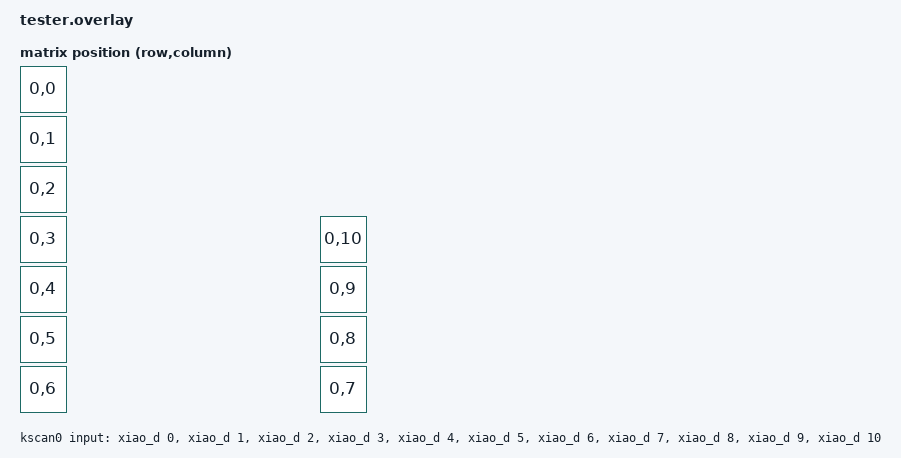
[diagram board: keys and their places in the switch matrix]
#include <dt-bindings/zmk/matrix_transform.h>
#include <physical_layouts.dtsi>

/ {
    chosen {
        zmk,kscan = &kscan0;
        zmk,physical-layout = &default_layout;
    };

    kscan0: kscan {
        compatible = "zmk,kscan-gpio-direct";
        wakeup-source;
        debounce-press-ms = <10>;
        debounce-release-ms = <10>;
        input-gpios
            = <&xiao_d 0 (GPIO_ACTIVE_LOW | GPIO_PULL_UP)>
            , <&xiao_d 1 (GPIO_ACTIVE_LOW | GPIO_PULL_UP)>
            , <&xiao_d 2 (GPIO_ACTIVE_LOW | GPIO_PULL_UP)>
            , <&xiao_d 3 (GPIO_ACTIVE_LOW | GPIO_PULL_UP)>
            , <&xiao_d 4 (GPIO_ACTIVE_LOW | GPIO_PULL_UP)>
            , <&xiao_d 5 (GPIO_ACTIVE_LOW | GPIO_PULL_UP)>
            , <&xiao_d 6 (GPIO_ACTIVE_LOW | GPIO_PULL_UP)>
            , <&xiao_d 7 (GPIO_ACTIVE_LOW | GPIO_PULL_UP)>
            , <&xiao_d 8 (GPIO_ACTIVE_LOW | GPIO_PULL_UP)>
            , <&xiao_d 9 (GPIO_ACTIVE_LOW | GPIO_PULL_UP)>
            , <&xiao_d 10 (GPIO_ACTIVE_LOW | GPIO_PULL_UP)>
            ;
    };

    default_layout: default_layout {
        compatible = "zmk,physical-layout";
        display-name = "XIAO Pinout";

        // Map key positions to the XIAO pinout.
        keys  //                     w   h    x    y    rot   rx   ry
            = <&key_physical_attrs 100 100    0    0      0    0    0>
            , <&key_physical_attrs 100 100    0  100      0    0    0>
            , <&key_physical_attrs 100 100    0  200      0    0    0>
            , <&key_physical_attrs 100 100    0  300      0    0    0>
            , <&key_physical_attrs 100 100    0  400      0    0    0>
            , <&key_physical_attrs 100 100    0  500      0    0    0>
            , <&key_physical_attrs 100 100    0  600      0    0    0>
            , <&key_physical_attrs 100 100  600  600      0    0    0>
            , <&key_physical_attrs 100 100  600  500      0    0    0>
            , <&key_physical_attrs 100 100  600  400      0    0    0>
            , <&key_physical_attrs 100 100  600  300      0    0    0>
            ;
    };

    default_transform: keymap_transform {
        compatible = "zmk,matrix-transform";
        columns = <11>;
        rows = <1>;
        map = <
        RC(0,0)  RC(0,1)  RC(0,2)  RC(0,3)  RC(0,4)  RC(0,5)  RC(0,6)  RC(0,7)  RC(0,8)  RC(0,9)  RC(0,10)
        >;
    };
};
